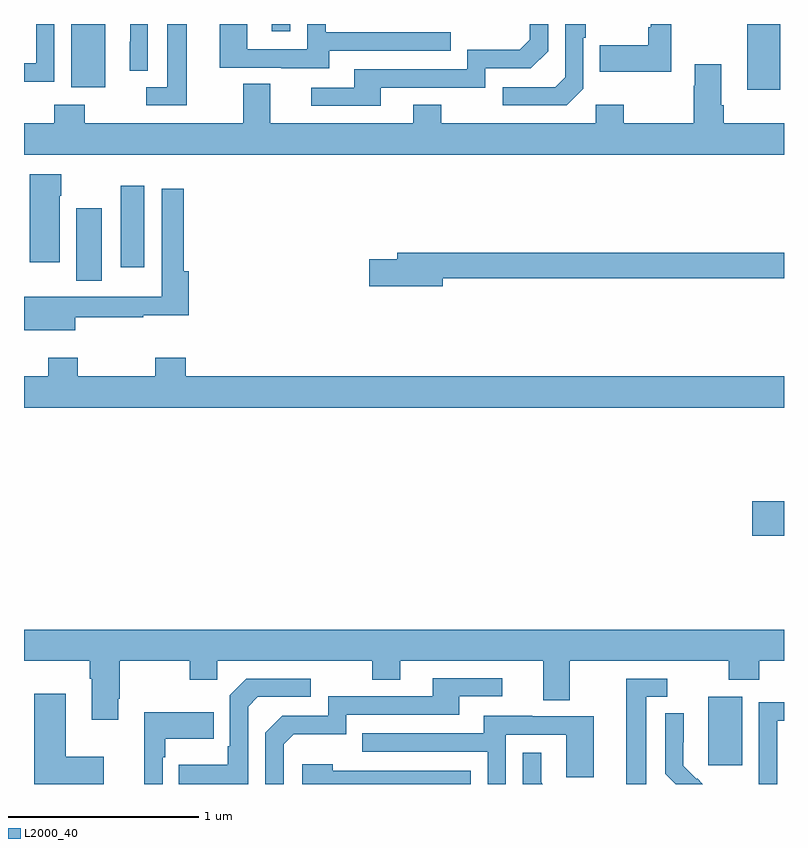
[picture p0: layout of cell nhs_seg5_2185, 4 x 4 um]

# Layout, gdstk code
import gdstk
lib = gdstk.Library(unit=1e-6, precision=1e-09)
def R(c, l, rs):  # rectangles x0, y0, x1, y1
    for r in rs: c.add(gdstk.rectangle(r[:2], r[2:], *l))
def P(c, l, *ps):  # polygons
    for p in ps: c.add(gdstk.Polygon(p, *l))
L2000_40 = (2000, 40)

nhs_seg5_2185 = lib.new_cell('nhs_seg5_2185')
R(nhs_seg5_2185, L2000_40, [(242.6,834.897,242.779,835.258), (242.832,836.105,243,836.288), (239.276,837.448,239.41,837.829), (239.51,837.519,239.632,837.949), (242.807,838.452,242.98,838.799), (239.249,838.466,239.428,838.799), (240.305,838.761,240.402,838.799)])
P(nhs_seg5_2185, L2000_40, [(239.857,838.799),(239.753,838.799),(239.753,838.467),(239.643,838.467),(239.643,838.371),(239.857,838.371)],
  [(241.944,838.458),(241.944,838.727),(241.957,838.727),(241.957,838.799),(241.848,838.799),(241.848,838.518),(241.797,838.467),(241.521,838.467),(241.521,838.371),(241.857,838.371)],
  [(240.877,838.464),(241.428,838.464),(241.428,838.566),(241.668,838.566),(241.758,838.656),(241.758,838.799),(241.662,838.799),(241.662,838.716),(241.609,838.663),(241.332,838.663),(241.332,838.56),(240.737,838.56),(240.737,838.464),(240.513,838.464),(240.513,838.368),(240.877,838.368)],
  [(242.407,838.799),(242.298,838.799),(242.298,838.783),(242.286,838.783),(242.286,838.687),(242.029,838.687),(242.029,838.547),(242.407,838.547)],
  [(240.607,838.659),(241.247,838.659),(241.247,838.755),(240.588,838.755),(240.588,838.799),(240.492,838.799),(240.492,838.665),(240.174,838.665),(240.174,838.799),(240.029,838.799),(240.029,838.569),(240.353,838.569),(240.353,838.565),(240.607,838.565)],
  [(239.652,838.799),(239.558,838.799),(239.558,838.706),(239.556,838.706),(239.556,838.552),(239.652,838.552)],
  [(239.16,838.799),(239.064,838.799),(239.064,838.593),(239,838.593),(239,838.495),(239.16,838.495)],
  [(243,838.276),(242.684,838.276),(242.684,838.372),(242.671,838.372),(242.671,838.588),(242.531,838.588),(242.531,838.475),(242.524,838.475),(242.524,838.276),(242.157,838.276),(242.157,838.375),(242.01,838.375),(242.01,838.276),(241.197,838.276),(241.197,838.375),(241.049,838.375),(241.049,838.276),(240.295,838.276),(240.295,838.484),(240.155,838.484),(240.155,838.276),(239.319,838.276),(239.319,838.375),(239.159,838.375),(239.159,838.276),(239,838.276),(239,838.112),(243,838.112)],
  [(239.188,837.896),(239.196,837.896),(239.196,838.009),(239.03,838.009),(239.03,837.546),(239.188,837.546)],
  [(239.269,837.255),(239.627,837.255),(239.627,837.265),(239.867,837.265),(239.867,837.499),(239.84,837.499),(239.84,837.931),(239.724,837.931),(239.724,837.364),(239.514,837.364),(239.514,837.363),(239.165,837.363),(239.165,837.364),(239,837.364),(239,837.188),(239.269,837.188)],
  [(241.204,837.46),(243,837.46),(243,837.596),(240.965,837.596),(240.965,837.56),(240.816,837.56),(240.816,837.418),(241.204,837.418)],
  [(243,836.944),(239.852,836.944),(239.852,837.043),(239.692,837.043),(239.692,836.944),(239.283,836.944),(239.283,837.043),(239.128,837.043),(239.128,836.944),(239,836.944),(239,836.78),(243,836.78)],
  [(239.497,835.249),(239.505,835.249),(239.505,835.448),(239.872,835.448),(239.872,835.349),(240.018,835.349),(240.018,835.448),(240.832,835.448),(240.832,835.349),(240.979,835.349),(240.979,835.448),(241.733,835.448),(241.733,835.24),(241.873,835.24),(241.873,835.448),(242.71,835.448),(242.71,835.349),(242.87,835.349),(242.87,835.448),(243,835.448),(243,835.612),(239,835.612),(239,835.448),(239.345,835.448),(239.345,835.352),(239.357,835.352),(239.357,835.137),(239.497,835.137)],
  [(240.366,835.008),(240.419,835.061),(240.696,835.061),(240.696,835.164),(241.291,835.164),(241.291,835.26),(241.516,835.26),(241.516,835.356),(241.151,835.356),(241.151,835.26),(240.6,835.26),(240.6,835.158),(240.36,835.158),(240.27,835.068),(240.27,834.799),(240.366,834.799)],
  [(240.18,835.206),(240.231,835.257),(240.508,835.257),(240.508,835.353),(240.171,835.353),(240.084,835.266),(240.084,834.997),(240.072,834.997),(240.072,834.901),(239.815,834.901),(239.815,834.799),(240.18,834.799)],
  [(242.275,835.257),(242.386,835.257),(242.386,835.353),(242.171,835.353),(242.171,834.799),(242.275,834.799)],
  [(239.419,834.943),(239.221,834.943),(239.221,835.273),(239.054,835.273),(239.054,834.799),(239.419,834.799)],
  [(242.964,835.131),(243,835.131),(243,835.23),(242.868,835.23),(242.868,834.8),(242.866,834.8),(242.866,834.799),(242.964,834.799)],
  [(239.73,834.941),(239.743,834.941),(239.743,835.037),(239.999,835.037),(239.999,835.177),(239.633,835.177),(239.633,834.799),(239.73,834.799)],
  [(242.544,834.828),(242.541,834.825),(242.471,834.896),(242.471,835.018),(242.472,835.018),(242.472,835.172),(242.376,835.172),(242.376,834.854),(242.431,834.799),(242.573,834.799)],
  [(241.536,835.059),(241.854,835.059),(241.854,834.835),(241.999,834.835),(241.999,835.155),(241.675,835.155),(241.675,835.159),(241.421,835.159),(241.421,835.065),(240.781,835.065),(240.781,834.969),(241.44,834.969),(241.44,834.799),(241.536,834.799)],
  [(241.723,834.807),(241.723,834.964),(241.626,834.964),(241.626,834.799),(241.731,834.799)],
  [(241.35,834.87),(240.626,834.87),(240.626,834.904),(240.465,834.904),(240.465,834.799),(241.35,834.799)])

lib.write_gds('nhs_seg5_2185.gds')
